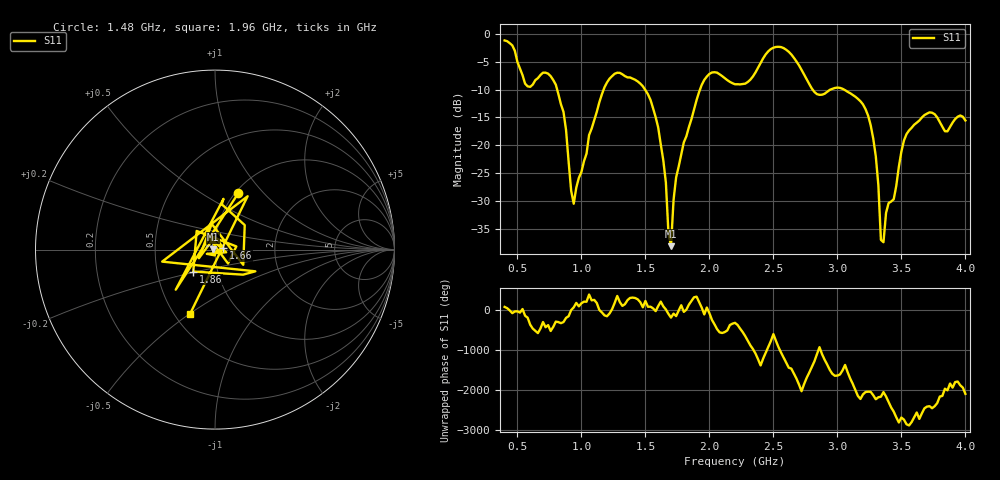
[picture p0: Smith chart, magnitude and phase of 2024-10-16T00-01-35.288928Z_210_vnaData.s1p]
! Created with skrf (http://scikit-rf.org).
# Hz S RI R 50.0
!freq ReS11 ImS11
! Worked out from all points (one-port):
!   181 points, 400 MHz to 4 GHz, reference 50 ohm
!   lowest |S11| = -38.2 dB at 1.7 GHz (marker M1), VSWR 1.03, Z = 48.8 + j0.192 ohm
!   |S11| at or under -10 dB: 810.5 MHz to 1.174 GHz (363.1 MHz wide, 36.6 % of centre); 1.497 GHz to 1.926 GHz (429.2 MHz wide, 25.1 % of centre); 3.052 GHz to end of sweep (the widest 3 of 4)
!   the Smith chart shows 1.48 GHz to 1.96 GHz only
!   S11 on the Smith chart (normalised r, x): 1.48 GHz: 1.03, +0.73; 1.66 GHz: 1.09, +0.02; 1.86 GHz: 0.76, -0.19; 1.96 GHz: 0.60, -0.50
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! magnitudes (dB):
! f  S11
! 400 MHz  -1.2
! 580 MHz  -9.4
! 760 MHz  -7.6
! 860 MHz  -14.0
! 940 MHz  -30.5
! 1.16 GHz  -10.8
! 1.3 GHz  -7.0
! 1.48 GHz  -9.4
! 1.6 GHz  -16.8
! 1.66 GHz  -26.7
! 1.68 GHz  -35.8
! 1.7 GHz  -38.2
! 1.72 GHz  -29.8
! 1.76 GHz  -23.8
! 1.86 GHz  -15.3
! 1.96 GHz  -8.3
! 2.2 GHz  -9.0
! 2.5 GHz  -2.5
! 2.66 GHz  -4.3
! 2.84 GHz  -10.8
! 3.1 GHz  -10.7
! 3.26 GHz  -16.4
! 3.3 GHz  -22.0
! 3.34 GHz  -37.0
! 3.36 GHz  -37.4
! 3.38 GHz  -32.2
! 3.56 GHz  -17.3
! 4 GHz  -15.6
